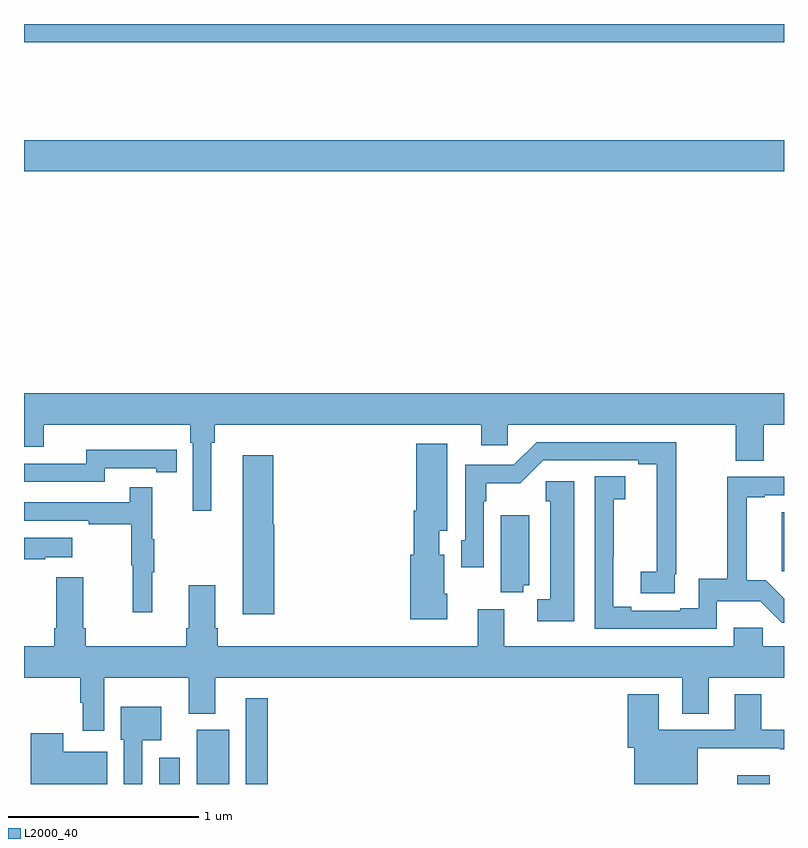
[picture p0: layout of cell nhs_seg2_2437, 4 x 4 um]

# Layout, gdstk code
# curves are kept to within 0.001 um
import gdstk
lib = gdstk.Library(unit=1e-6, precision=1e-09)
def R(c, l, rs):  # rectangles x0, y0, x1, y1
    for r in rs: c.add(gdstk.rectangle(r[:2], r[2:], *l))
def P(c, l, *ps):  # polygons
    for p in ps: c.add(gdstk.Polygon(p, *l))
L2000_40 = (2000, 40)

nhs_seg2_2437 = lib.new_cell('nhs_seg2_2437')
R(nhs_seg2_2437, L2000_40, [(239.711,589.8,239.821,589.939), (239.909,589.8,240.079,590.086), (240.168,589.8,240.284,590.251), (242.753,589.8,242.924,589.846), (242.987,590.919,243,591.229), (239,593.024,243,593.188), (239,593.704,243,593.8)])
P(nhs_seg2_2437, L2000_40, [(239,591.575),(239.104,591.575),(239.104,591.692),(239.876,591.692),(239.876,591.596),(239.889,591.596),(239.889,591.237),(239.986,591.237),(239.986,591.596),(240.005,591.596),(240.005,591.692),(241.406,591.692),(241.406,591.582),(241.545,591.582),(241.545,591.692),(242.746,591.692),(242.746,591.502),(242.893,591.502),(242.893,591.692),(243,591.692),(243,591.856),(239,591.856)],
  [(242.426,590.905),(242.432,590.905),(242.432,591.6),(241.698,591.6),(241.578,591.48),(241.323,591.48),(241.323,591.084),(241.302,591.084),(241.302,590.94),(241.419,590.94),(241.419,591.287),(241.432,591.287),(241.432,591.383),(241.613,591.383),(241.734,591.504),(242.234,591.504),(242.234,591.484),(242.33,591.484),(242.329,590.918),(242.247,590.918),(242.247,590.803),(242.426,590.803)],
  [(241.228,590.802),(241.212,590.802),(241.212,591.006),(241.186,591.006),(241.186,591.134),(241.228,591.134),(241.228,591.592),(241.064,591.592),(241.064,591.238),(241.052,591.238),(241.052,591.006),(241.034,591.006),(241.034,590.666),(241.228,590.666)],
  [(239.424,591.462),(239.696,591.462),(239.696,591.442),(239.804,591.442),(239.804,591.558),(239.696,591.558),(239.696,591.559),(239.328,591.559),(239.328,591.486),(239,591.486),(239,591.39),(239.424,591.39)],
  [(240.316,591.165),(240.311,591.165),(240.311,591.529),(240.152,591.529),(240.152,590.694),(240.316,590.694)],
  [(242.646,590.762),(242.875,590.762),(242.988,590.649),(243,590.649),(243,590.775),(242.903,590.872),(242.804,590.872),(242.804,591.309),(242.899,591.309),(242.899,591.321),(243,591.321),(243,591.417),(242.701,591.417),(242.701,590.879),(242.55,590.879),(242.55,590.726),(242.453,590.726),(242.453,590.712),(242.197,590.712),(242.197,590.732),(242.101,590.732),(242.101,590.995),(242.103,590.995),(242.103,591.299),(242.164,591.299),(242.164,591.419),(242.004,591.419),(242.004,590.616),(242.646,590.616)],
  [(241.897,591.394),(241.747,591.394),(241.747,591.288),(241.769,591.288),(241.769,590.772),(241.701,590.772),(241.701,590.657),(241.897,590.657)],
  [(239.675,590.915),(239.686,590.915),(239.686,591.089),(239.675,591.089),(239.675,591.361),(239.557,591.361),(239.557,591.282),(239,591.282),(239,591.186),(239.341,591.186),(239.341,591.166),(239.565,591.166),(239.565,590.952),(239.572,590.952),(239.572,590.703),(239.675,590.703)],
  [(241.628,590.846),(241.66,590.846),(241.66,591.214),(241.508,591.214),(241.508,590.809),(241.628,590.809)],
  [(239.111,590.993),(239.254,590.993),(239.254,591.097),(239,591.097),(239,590.983),(239.111,590.983)],
  [(239.422,590.36),(239.867,590.36),(239.867,590.171),(240.007,590.171),(240.007,590.36),(242.465,590.36),(242.465,590.17),(242.605,590.17),(242.605,590.36),(243,590.36),(243,590.524),(242.887,590.524),(242.887,590.622),(242.735,590.622),(242.735,590.524),(241.528,590.524),(241.528,590.719),(241.388,590.719),(241.388,590.524),(240.02,590.524),(240.02,590.62),(240.007,590.62),(240.007,590.845),(239.867,590.845),(239.867,590.62),(239.855,590.62),(239.855,590.524),(239.324,590.524),(239.324,590.62),(239.311,590.62),(239.311,590.887),(239.171,590.887),(239.171,590.62),(239.159,590.62),(239.159,590.524),(239,590.524),(239,590.36),(239.297,590.36),(239.297,590.228),(239.309,590.228),(239.309,590.079),(239.422,590.079)],
  [(242.545,589.988),(242.977,589.988),(242.977,589.984),(243,589.984),(243,590.085),(242.881,590.085),(242.881,590.272),(242.741,590.272),(242.741,590.085),(242.341,590.085),(242.341,590.272),(242.177,590.272),(242.177,589.992),(242.213,589.992),(242.213,589.8),(242.545,589.8)],
  [(239.622,590.03),(239.722,590.03),(239.722,590.206),(239.51,590.206),(239.51,590.034),(239.526,590.034),(239.526,589.8),(239.622,589.8)],
  [(239.437,589.969),(239.206,589.969),(239.206,590.068),(239.036,590.068),(239.036,589.8),(239.437,589.8)])

lib.write_gds('nhs_seg2_2437.gds')
